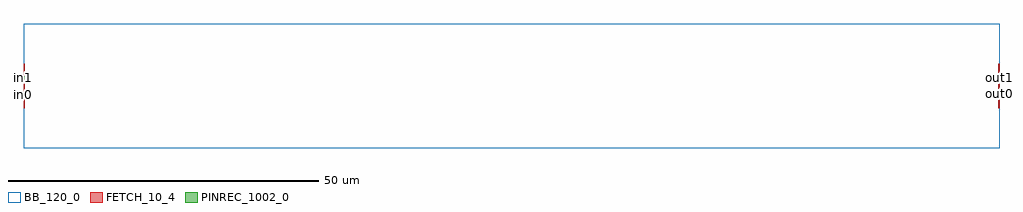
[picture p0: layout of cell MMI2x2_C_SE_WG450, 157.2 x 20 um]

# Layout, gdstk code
import gdstk
lib = gdstk.Library(unit=1e-6, precision=1e-09)
def R(c, l, rs):  # rectangles x0, y0, x1, y1
    for r in rs: c.add(gdstk.rectangle(r[:2], r[2:], *l))
FETCH_10_4 = (10, 4)
BB_120_0 = (120, 0)
PINREC_1002_0 = (1002, 0)

mmi2x2_c_se_wg450 = lib.new_cell('MMI2x2_C_SE_WG450')
R(mmi2x2_c_se_wg450, FETCH_10_4, [(0,6.45,0.2,8.45), (157,6.45,157.2,8.45), (0,8.9,0.2,11.1), (157,8.9,157.2,11.1), (0,11.55,0.2,13.55), (157,11.55,157.2,13.55)])
R(mmi2x2_c_se_wg450, BB_120_0, [(0,0,157.2,20), (0,0,157.2,20)])
R(mmi2x2_c_se_wg450, PINREC_1002_0, [(0,8.45,0.2,8.9), (0,8.45,0.2,8.9), (157,8.45,157.2,8.9), (157,8.45,157.2,8.9), (0,11.1,0.2,11.55), (0,11.1,0.2,11.55), (157,11.1,157.2,11.55), (157,11.1,157.2,11.55)])
mmi2x2_c_se_wg450.add(gdstk.Label('out1', (157.2,11.334), layer=1000, texttype=0))
mmi2x2_c_se_wg450.add(gdstk.Label('out0', (157.2,8.713), layer=1000, texttype=0))
mmi2x2_c_se_wg450.add(gdstk.Label('in1', (0,11.362), layer=1000, texttype=0))
mmi2x2_c_se_wg450.add(gdstk.Label('in0', (0,8.695), layer=1000, texttype=0))

lib.write_gds('MMI2x2_C_SE_WG450.gds')
